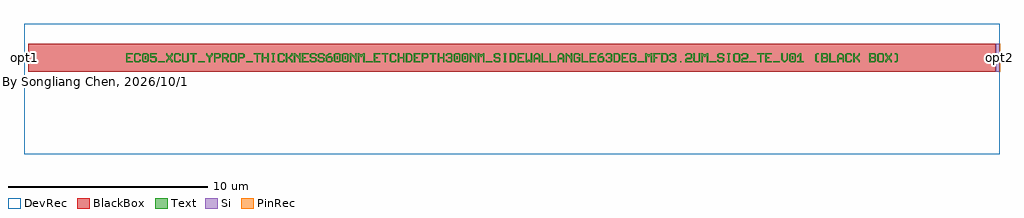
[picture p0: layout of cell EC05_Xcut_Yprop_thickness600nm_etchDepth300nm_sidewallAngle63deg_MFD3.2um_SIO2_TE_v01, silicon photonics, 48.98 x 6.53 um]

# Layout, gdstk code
import gdstk
lib = gdstk.Library(unit=1e-6, precision=1e-10)
def R(c, l, rs):  # rectangles x0, y0, x1, y1
    for r in rs: c.add(gdstk.rectangle(r[:2], r[2:], *l))
def A(c, l, x, y, w, h, nx, ny, dx, dy):  # array of equal rectangles
    R(c, l, [(x+i*dx, y+j*dy, x+i*dx+w, y+j*dy+h) for i in range(nx) for j in range(ny)])
def P(c, l, *ps):  # polygons
    for p in ps: c.add(gdstk.Polygon(p, *l))
Si = (1, 0)
PinRec = (1, 10)
Text = (10, 0)
DevRec = (68, 0)
BlackBox = (998, 0)

text = lib.new_cell('TEXT')
A(text, Text, 6.015, 0, 0.334, 0.067, 3, 1, 6.015, 0)
R(text, Text, [(1.604,0,1.938,0.067), (3.609,0,3.943,0.067), (25.664,0,25.998,0.067), (27.803,0,27.869,0.067), (29.273,0,29.607,0.067), (31.278,0,31.612,0.067), (32.481,0,32.815,0.067), (0.936,0.167,1.002,0.3), (10.56,0.167,10.626,0.3), (10.961,0.167,11.027,0.3), (16.575,0.167,16.641,0.3), (16.976,0.167,17.042,0.3), (33.417,0.167,33.483,0.3)])
P(text, Text, [(19.248,0),(19.248,0.467),(19.482,0.467),(19.548,0.401),(19.315,0.401),(19.315,0.067),(19.448,0.067),(19.515,0.134),(19.515,0.334),(19.448,0.401),(19.548,0.401),(19.582,0.367),(19.582,0.1),(19.482,0)],
  [(19.649,0),(19.649,0.467),(19.983,0.467),(19.983,0.401),(19.716,0.401),(19.716,0.267),(19.849,0.267),(19.849,0.2),(19.716,0.2),(19.716,0.067),(19.983,0.067),(19.983,0)],
  [(20.05,0),(20.05,0.467),(20.117,0.467),(20.117,0.1),(20.15,0.1),(20.217,0.167),(20.284,0.1),(20.317,0.1),(20.317,0.467),(20.384,0.467),(20.384,0),(20.284,0),(20.217,0.067),(20.15,0)],
  [(20.451,0),(20.451,0.367),(20.551,0.467),(20.685,0.467),(20.751,0.401),(20.585,0.401),(20.518,0.334),(20.518,0.234),(20.718,0.234),(20.718,0.334),(20.651,0.401),(20.751,0.401),(20.785,0.367),(20.785,0),(20.718,0),(20.718,0.167),(20.518,0.167),(20.518,0)],
  [(20.852,0),(20.852,0.467),(20.919,0.467),(20.919,0.067),(21.186,0.067),(21.186,0)],
  [(21.253,0),(21.253,0.467),(21.32,0.467),(21.32,0.067),(21.587,0.067),(21.587,0)],
  [(21.654,0),(21.654,0.367),(21.754,0.467),(21.888,0.467),(21.954,0.401),(21.788,0.401),(21.721,0.334),(21.721,0.234),(21.921,0.234),(21.921,0.334),(21.854,0.401),(21.954,0.401),(21.988,0.367),(21.988,0),(21.921,0),(21.921,0.167),(21.721,0.167),(21.721,0)],
  [(22.055,0),(22.055,0.467),(22.122,0.467),(22.289,0.3),(22.322,0.3),(22.322,0.467),(22.389,0.467),(22.389,0),(22.322,0),(22.322,0.167),(22.155,0.334),(22.122,0.334),(22.122,0)],
  [(22.523,0),(22.456,0.067),(22.456,0.401),(22.523,0.467),(22.723,0.467),(22.79,0.401),(22.79,0.334),(22.723,0.334),(22.723,0.367),(22.69,0.401),(22.556,0.401),(22.523,0.367),(22.523,0.1),(22.556,0.067),(22.69,0.067),(22.723,0.1),(22.723,0.2),(22.623,0.2),(22.623,0.267),(22.79,0.267),(22.79,0.067),(22.723,0)],
  [(22.857,0),(22.857,0.467),(22.924,0.467),(22.924,0.067),(23.191,0.067),(23.191,0)],
  [(23.258,0),(23.258,0.467),(23.592,0.467),(23.592,0.401),(23.325,0.401),(23.325,0.267),(23.458,0.267),(23.458,0.2),(23.325,0.2),(23.325,0.067),(23.592,0.067),(23.592,0)],
  [(23.726,0),(23.659,0.067),(23.659,0.334),(23.793,0.467),(23.926,0.467),(23.926,0.401),(23.826,0.401),(23.759,0.334),(23.759,0.3),(23.926,0.3),(23.993,0.234),(23.759,0.234),(23.726,0.2),(23.726,0.1),(23.759,0.067),(23.893,0.067),(23.926,0.1),(23.926,0.2),(23.893,0.234),(23.993,0.234),(23.993,0.067),(23.926,0)],
  [(24.127,0),(24.06,0.067),(24.06,0.134),(24.127,0.134),(24.127,0.1),(24.16,0.067),(24.294,0.067),(24.327,0.1),(24.327,0.167),(24.294,0.2),(24.194,0.2),(24.194,0.267),(24.294,0.267),(24.327,0.3),(24.327,0.367),(24.294,0.401),(24.16,0.401),(24.127,0.367),(24.127,0.334),(24.06,0.334),(24.06,0.401),(24.127,0.467),(24.327,0.467),(24.394,0.401),(24.394,0.267),(24.36,0.234),(24.394,0.2),(24.394,0.067),(24.327,0)],
  [(24.461,0),(24.461,0.467),(24.695,0.467),(24.761,0.401),(24.528,0.401),(24.528,0.067),(24.661,0.067),(24.728,0.134),(24.728,0.334),(24.661,0.401),(24.761,0.401),(24.795,0.367),(24.795,0.1),(24.695,0)],
  [(24.862,0),(24.862,0.467),(25.196,0.467),(25.196,0.401),(24.929,0.401),(24.929,0.267),(25.062,0.267),(25.062,0.2),(24.929,0.2),(24.929,0.067),(25.196,0.067),(25.196,0)],
  [(25.33,0),(25.263,0.067),(25.263,0.401),(25.33,0.467),(25.53,0.467),(25.597,0.401),(25.597,0.334),(25.53,0.334),(25.53,0.367),(25.497,0.401),(25.363,0.401),(25.33,0.367),(25.33,0.1),(25.363,0.067),(25.497,0.067),(25.53,0.1),(25.53,0.2),(25.43,0.2),(25.43,0.267),(25.597,0.267),(25.597,0.067),(25.53,0)],
  [(26.065,0),(26.065,0.467),(26.132,0.467),(26.199,0.401),(26.265,0.401),(26.332,0.467),(26.399,0.467),(26.399,0),(26.332,0),(26.332,0.334),(26.299,0.334),(26.232,0.267),(26.165,0.334),(26.132,0.334),(26.132,0)],
  [(26.466,0),(26.466,0.467),(26.8,0.467),(26.8,0.401),(26.533,0.401),(26.533,0.267),(26.666,0.267),(26.666,0.2),(26.533,0.2),(26.533,0)],
  [(26.867,0),(26.867,0.467),(27.101,0.467),(27.167,0.401),(26.934,0.401),(26.934,0.067),(27.067,0.067),(27.134,0.134),(27.134,0.334),(27.067,0.401),(27.167,0.401),(27.201,0.367),(27.201,0.1),(27.101,0)],
  [(27.335,0),(27.268,0.067),(27.268,0.134),(27.335,0.134),(27.335,0.1),(27.368,0.067),(27.502,0.067),(27.535,0.1),(27.535,0.167),(27.502,0.2),(27.402,0.2),(27.402,0.267),(27.502,0.267),(27.535,0.3),(27.535,0.367),(27.502,0.401),(27.368,0.401),(27.335,0.367),(27.335,0.334),(27.268,0.334),(27.268,0.401),(27.335,0.467),(27.535,0.467),(27.602,0.401),(27.602,0.267),(27.568,0.234),(27.602,0.2),(27.602,0.067),(27.535,0)],
  [(28.07,0),(28.07,0.167),(28.137,0.234),(28.304,0.234),(28.337,0.267),(28.337,0.367),(28.304,0.401),(28.17,0.401),(28.137,0.367),(28.137,0.334),(28.07,0.334),(28.07,0.401),(28.137,0.467),(28.337,0.467),(28.404,0.401),(28.404,0.234),(28.337,0.167),(28.17,0.167),(28.137,0.134),(28.137,0.067),(28.404,0.067),(28.404,0)],
  [(28.538,0),(28.471,0.067),(28.471,0.467),(28.538,0.467),(28.538,0.1),(28.571,0.067),(28.705,0.067),(28.738,0.1),(28.738,0.467),(28.805,0.467),(28.805,0.067),(28.738,0)],
  [(28.872,0),(28.872,0.467),(28.939,0.467),(29.006,0.401),(29.072,0.401),(29.139,0.467),(29.206,0.467),(29.206,0),(29.139,0),(29.139,0.334),(29.106,0.334),(29.039,0.267),(28.972,0.334),(28.939,0.334),(28.939,0)],
  [(29.741,0),(29.674,0.067),(29.674,0.134),(29.741,0.134),(29.741,0.1),(29.774,0.067),(29.908,0.067),(29.941,0.1),(29.941,0.167),(29.908,0.2),(29.741,0.2),(29.674,0.267),(29.674,0.401),(29.741,0.467),(29.941,0.467),(30.008,0.401),(30.008,0.334),(29.941,0.334),(29.941,0.367),(29.908,0.401),(29.774,0.401),(29.741,0.367),(29.741,0.3),(29.774,0.267),(29.941,0.267),(30.008,0.2),(30.008,0.067),(29.941,0)],
  [(30.175,0),(30.175,0.067),(30.209,0.067),(30.209,0.401),(30.175,0.401),(30.175,0.467),(30.309,0.467),(30.309,0.401),(30.275,0.401),(30.275,0.067),(30.309,0.067),(30.309,0)],
  [(30.543,0),(30.476,0.067),(30.476,0.401),(30.543,0.467),(30.743,0.467),(30.81,0.401),(30.81,0.234),(30.743,0.234),(30.743,0.367),(30.71,0.401),(30.576,0.401),(30.543,0.367),(30.543,0.1),(30.576,0.067),(30.71,0.067),(30.743,0.1),(30.743,0.234),(30.81,0.234),(30.81,0.067),(30.743,0)],
  [(30.877,0),(30.877,0.167),(30.944,0.234),(31.111,0.234),(31.144,0.267),(31.144,0.367),(31.111,0.401),(30.977,0.401),(30.944,0.367),(30.944,0.334),(30.877,0.334),(30.877,0.401),(30.944,0.467),(31.144,0.467),(31.211,0.401),(31.211,0.234),(31.144,0.167),(30.977,0.167),(30.944,0.134),(30.944,0.067),(31.211,0.067),(31.211,0)],
  [(31.813,0),(31.813,0.401),(31.679,0.401),(31.679,0.467),(32.013,0.467),(32.013,0.401),(31.879,0.401),(31.879,0)],
  [(32.08,0),(32.08,0.467),(32.414,0.467),(32.414,0.401),(32.147,0.401),(32.147,0.267),(32.28,0.267),(32.28,0.2),(32.147,0.2),(32.147,0.067),(32.414,0.067),(32.414,0)],
  [(33.016,0),(32.882,0.134),(32.882,0.467),(32.949,0.467),(32.949,0.167),(33.049,0.067),(33.149,0.167),(33.149,0.467),(33.216,0.467),(33.216,0.134),(33.082,0)],
  [(33.35,0),(33.283,0.067),(33.283,0.401),(33.35,0.467),(33.55,0.467),(33.617,0.401),(33.383,0.401),(33.35,0.367),(33.35,0.1),(33.383,0.067),(33.517,0.067),(33.55,0.1),(33.55,0.367),(33.517,0.401),(33.617,0.401),(33.617,0.067),(33.55,0)],
  [(33.684,0),(33.684,0.067),(33.818,0.067),(33.818,0.334),(33.784,0.334),(33.717,0.267),(33.684,0.267),(33.684,0.334),(33.818,0.467),(33.884,0.467),(33.884,0.067),(34.018,0.067),(34.018,0)],
  [(34.653,0),(34.586,0.067),(34.586,0.401),(34.653,0.467),(34.753,0.467),(34.753,0.401),(34.686,0.401),(34.653,0.367),(34.653,0.1),(34.686,0.067),(34.753,0.067),(34.753,0)],
  [(34.887,0),(34.887,0.467),(35.154,0.467),(35.221,0.401),(34.954,0.401),(34.954,0.267),(35.121,0.267),(35.154,0.3),(35.154,0.367),(35.121,0.401),(35.221,0.401),(35.221,0.267),(35.187,0.234),(35.221,0.2),(34.954,0.2),(34.954,0.067),(35.121,0.067),(35.154,0.1),(35.154,0.167),(35.121,0.2),(35.221,0.2),(35.221,0.067),(35.154,0)],
  [(35.288,0),(35.288,0.467),(35.355,0.467),(35.355,0.067),(35.622,0.067),(35.622,0)],
  [(35.689,0),(35.689,0.367),(35.789,0.467),(35.923,0.467),(35.989,0.401),(35.823,0.401),(35.756,0.334),(35.756,0.234),(35.956,0.234),(35.956,0.334),(35.889,0.401),(35.989,0.401),(36.023,0.367),(36.023,0),(35.956,0),(35.956,0.167),(35.756,0.167),(35.756,0)],
  [(36.157,0),(36.09,0.067),(36.09,0.401),(36.157,0.467),(36.357,0.467),(36.424,0.401),(36.424,0.334),(36.357,0.334),(36.357,0.367),(36.324,0.401),(36.19,0.401),(36.157,0.367),(36.157,0.1),(36.19,0.067),(36.324,0.067),(36.357,0.1),(36.357,0.134),(36.424,0.134),(36.424,0.067),(36.357,0)],
  [(36.491,0),(36.491,0.467),(36.558,0.467),(36.558,0.267),(36.625,0.267),(36.758,0.401),(36.758,0.467),(36.825,0.467),(36.825,0.367),(36.691,0.234),(36.825,0.1),(36.825,0),(36.758,0),(36.758,0.067),(36.625,0.2),(36.558,0.2),(36.558,0)],
  [(37.293,0),(37.293,0.467),(37.56,0.467),(37.627,0.401),(37.36,0.401),(37.36,0.267),(37.527,0.267),(37.56,0.3),(37.56,0.367),(37.527,0.401),(37.627,0.401),(37.627,0.267),(37.593,0.234),(37.627,0.2),(37.36,0.2),(37.36,0.067),(37.527,0.067),(37.56,0.1),(37.56,0.167),(37.527,0.2),(37.627,0.2),(37.627,0.067),(37.56,0)],
  [(37.761,0),(37.694,0.067),(37.694,0.401),(37.761,0.467),(37.961,0.467),(38.028,0.401),(38.028,0.234),(37.961,0.234),(37.961,0.367),(37.928,0.401),(37.794,0.401),(37.761,0.367),(37.761,0.1),(37.794,0.067),(37.928,0.067),(37.961,0.1),(37.961,0.234),(38.028,0.234),(38.028,0.067),(37.961,0)],
  [(38.095,0),(38.095,0.1),(38.195,0.2),(38.195,0.267),(38.095,0.367),(38.095,0.467),(38.162,0.467),(38.162,0.401),(38.262,0.3),(38.362,0.401),(38.362,0.467),(38.429,0.467),(38.429,0.367),(38.329,0.267),(38.329,0.2),(38.429,0.1),(38.429,0),(38.362,0),(38.362,0.067),(38.262,0.167),(38.162,0.067),(38.162,0)],
  [(38.563,0),(38.563,0.067),(38.63,0.067),(38.663,0.1),(38.663,0.367),(38.63,0.401),(38.563,0.401),(38.563,0.467),(38.663,0.467),(38.73,0.401),(38.73,0.067),(38.663,0)],
  [(17.243,0),(17.243,0.467),(17.31,0.467),(17.477,0.3),(17.51,0.3),(17.51,0.467),(17.577,0.467),(17.577,0),(17.51,0),(17.51,0.167),(17.343,0.334),(17.31,0.334),(17.31,0)],
  [(17.644,0),(17.644,0.467),(17.711,0.467),(17.778,0.401),(17.844,0.401),(17.911,0.467),(17.978,0.467),(17.978,0),(17.911,0),(17.911,0.334),(17.878,0.334),(17.811,0.267),(17.744,0.334),(17.711,0.334),(17.711,0)],
  [(18.513,0),(18.446,0.067),(18.446,0.134),(18.513,0.134),(18.513,0.1),(18.546,0.067),(18.68,0.067),(18.713,0.1),(18.713,0.167),(18.68,0.2),(18.513,0.2),(18.446,0.267),(18.446,0.401),(18.513,0.467),(18.713,0.467),(18.78,0.401),(18.78,0.334),(18.713,0.334),(18.713,0.367),(18.68,0.401),(18.546,0.401),(18.513,0.367),(18.513,0.3),(18.546,0.267),(18.713,0.267),(18.78,0.2),(18.78,0.067),(18.713,0)],
  [(18.947,0),(18.947,0.067),(18.981,0.067),(18.981,0.401),(18.947,0.401),(18.947,0.467),(19.081,0.467),(19.081,0.401),(19.047,0.401),(19.047,0.067),(19.081,0.067),(19.081,0)],
  [(0,0),(0,0.467),(0.334,0.467),(0.334,0.401),(0.067,0.401),(0.067,0.267),(0.2,0.267),(0.2,0.2),(0.067,0.2),(0.067,0.067),(0.334,0.067),(0.334,0)],
  [(0.468,0),(0.401,0.067),(0.401,0.401),(0.468,0.467),(0.668,0.467),(0.735,0.401),(0.735,0.334),(0.668,0.334),(0.668,0.367),(0.635,0.401),(0.501,0.401),(0.468,0.367),(0.468,0.1),(0.501,0.067),(0.635,0.067),(0.668,0.1),(0.668,0.134),(0.735,0.134),(0.735,0.067),(0.668,0)],
  [(0.869,0),(0.802,0.067),(0.802,0.401),(0.869,0.467),(1.069,0.467),(1.136,0.401),(0.902,0.401),(0.869,0.367),(0.869,0.1),(0.902,0.067),(1.036,0.067),(1.069,0.1),(1.069,0.367),(1.036,0.401),(1.136,0.401),(1.136,0.067),(1.069,0)],
  [(1.27,0),(1.203,0.067),(1.203,0.134),(1.27,0.134),(1.27,0.1),(1.303,0.067),(1.437,0.067),(1.47,0.1),(1.47,0.2),(1.437,0.234),(1.203,0.234),(1.203,0.467),(1.537,0.467),(1.537,0.401),(1.27,0.401),(1.27,0.3),(1.47,0.3),(1.537,0.234),(1.537,0.067),(1.47,0)],
  [(2.005,0),(2.005,0.1),(2.105,0.2),(2.105,0.267),(2.005,0.367),(2.005,0.467),(2.072,0.467),(2.072,0.401),(2.172,0.3),(2.272,0.401),(2.272,0.467),(2.339,0.467),(2.339,0.367),(2.239,0.267),(2.239,0.2),(2.339,0.1),(2.339,0),(2.272,0),(2.272,0.067),(2.172,0.167),(2.072,0.067),(2.072,0)],
  [(2.473,0),(2.406,0.067),(2.406,0.401),(2.473,0.467),(2.673,0.467),(2.74,0.401),(2.74,0.334),(2.673,0.334),(2.673,0.367),(2.64,0.401),(2.506,0.401),(2.473,0.367),(2.473,0.1),(2.506,0.067),(2.64,0.067),(2.673,0.1),(2.673,0.134),(2.74,0.134),(2.74,0.067),(2.673,0)],
  [(2.874,0),(2.807,0.067),(2.807,0.467),(2.874,0.467),(2.874,0.1),(2.907,0.067),(3.041,0.067),(3.074,0.1),(3.074,0.467),(3.141,0.467),(3.141,0.067),(3.074,0)],
  [(3.342,0),(3.342,0.401),(3.208,0.401),(3.208,0.467),(3.542,0.467),(3.542,0.401),(3.408,0.401),(3.408,0)],
  [(4.144,0),(4.144,0.234),(4.01,0.367),(4.01,0.467),(4.077,0.467),(4.077,0.401),(4.177,0.3),(4.277,0.401),(4.277,0.467),(4.344,0.467),(4.344,0.367),(4.21,0.234),(4.21,0)],
  [(4.411,0),(4.411,0.467),(4.678,0.467),(4.745,0.401),(4.745,0.267),(4.678,0.2),(4.478,0.2),(4.478,0.267),(4.645,0.267),(4.678,0.3),(4.678,0.367),(4.645,0.401),(4.478,0.401),(4.478,0)],
  [(4.812,0),(4.812,0.467),(5.079,0.467),(5.146,0.401),(4.879,0.401),(4.879,0.267),(5.046,0.267),(5.079,0.3),(5.079,0.367),(5.046,0.401),(5.146,0.401),(5.146,0.267),(5.079,0.2),(5.079,0.167),(5.146,0.1),(5.146,0),(5.079,0),(5.079,0.067),(4.946,0.2),(4.879,0.2),(4.879,0)],
  [(5.28,0),(5.213,0.067),(5.213,0.401),(5.28,0.467),(5.48,0.467),(5.547,0.401),(5.547,0.234),(5.48,0.234),(5.48,0.367),(5.447,0.401),(5.313,0.401),(5.28,0.367),(5.28,0.1),(5.313,0.067),(5.447,0.067),(5.48,0.1),(5.48,0.234),(5.547,0.234),(5.547,0.067),(5.48,0)],
  [(5.614,0),(5.614,0.467),(5.881,0.467),(5.948,0.401),(5.948,0.267),(5.881,0.2),(5.681,0.2),(5.681,0.267),(5.848,0.267),(5.881,0.3),(5.881,0.367),(5.848,0.401),(5.681,0.401),(5.681,0)],
  [(6.55,0),(6.55,0.401),(6.416,0.401),(6.416,0.467),(6.75,0.467),(6.75,0.401),(6.616,0.401),(6.616,0)],
  [(6.817,0),(6.817,0.467),(6.884,0.467),(6.884,0.267),(7.084,0.267),(7.084,0.467),(7.151,0.467),(7.151,0),(7.084,0),(7.084,0.2),(6.884,0.2),(6.884,0)],
  [(7.318,0),(7.318,0.067),(7.352,0.067),(7.352,0.401),(7.318,0.401),(7.318,0.467),(7.452,0.467),(7.452,0.401),(7.418,0.401),(7.418,0.067),(7.452,0.067),(7.452,0)],
  [(7.686,0),(7.619,0.067),(7.619,0.401),(7.686,0.467),(7.886,0.467),(7.953,0.401),(7.953,0.334),(7.886,0.334),(7.886,0.367),(7.853,0.401),(7.719,0.401),(7.686,0.367),(7.686,0.1),(7.719,0.067),(7.853,0.067),(7.886,0.1),(7.886,0.134),(7.953,0.134),(7.953,0.067),(7.886,0)],
  [(8.02,0),(8.02,0.467),(8.087,0.467),(8.087,0.267),(8.154,0.267),(8.287,0.401),(8.287,0.467),(8.354,0.467),(8.354,0.367),(8.22,0.234),(8.354,0.1),(8.354,0),(8.287,0),(8.287,0.067),(8.154,0.2),(8.087,0.2),(8.087,0)],
  [(8.421,0),(8.421,0.467),(8.488,0.467),(8.655,0.3),(8.688,0.3),(8.688,0.467),(8.755,0.467),(8.755,0),(8.688,0),(8.688,0.167),(8.521,0.334),(8.488,0.334),(8.488,0)],
  [(8.822,0),(8.822,0.467),(9.156,0.467),(9.156,0.401),(8.889,0.401),(8.889,0.267),(9.022,0.267),(9.022,0.2),(8.889,0.2),(8.889,0.067),(9.156,0.067),(9.156,0)],
  [(9.29,0),(9.223,0.067),(9.223,0.134),(9.29,0.134),(9.29,0.1),(9.323,0.067),(9.457,0.067),(9.49,0.1),(9.49,0.167),(9.457,0.2),(9.29,0.2),(9.223,0.267),(9.223,0.401),(9.29,0.467),(9.49,0.467),(9.557,0.401),(9.557,0.334),(9.49,0.334),(9.49,0.367),(9.457,0.401),(9.323,0.401),(9.29,0.367),(9.29,0.3),(9.323,0.267),(9.49,0.267),(9.557,0.2),(9.557,0.067),(9.49,0)],
  [(9.691,0),(9.624,0.067),(9.624,0.134),(9.691,0.134),(9.691,0.1),(9.724,0.067),(9.858,0.067),(9.891,0.1),(9.891,0.167),(9.858,0.2),(9.691,0.2),(9.624,0.267),(9.624,0.401),(9.691,0.467),(9.891,0.467),(9.958,0.401),(9.958,0.334),(9.891,0.334),(9.891,0.367),(9.858,0.401),(9.724,0.401),(9.691,0.367),(9.691,0.3),(9.724,0.267),(9.891,0.267),(9.958,0.2),(9.958,0.067),(9.891,0)],
  [(10.092,0),(10.025,0.067),(10.025,0.334),(10.159,0.467),(10.292,0.467),(10.292,0.401),(10.192,0.401),(10.125,0.334),(10.125,0.3),(10.292,0.3),(10.359,0.234),(10.125,0.234),(10.092,0.2),(10.092,0.1),(10.125,0.067),(10.259,0.067),(10.292,0.1),(10.292,0.2),(10.259,0.234),(10.359,0.234),(10.359,0.067),(10.292,0)],
  [(10.493,0),(10.426,0.067),(10.426,0.401),(10.493,0.467),(10.693,0.467),(10.76,0.401),(10.526,0.401),(10.493,0.367),(10.493,0.1),(10.526,0.067),(10.66,0.067),(10.693,0.1),(10.693,0.367),(10.66,0.401),(10.76,0.401),(10.76,0.067),(10.693,0)],
  [(10.894,0),(10.827,0.067),(10.827,0.401),(10.894,0.467),(11.094,0.467),(11.161,0.401),(10.927,0.401),(10.894,0.367),(10.894,0.1),(10.927,0.067),(11.061,0.067),(11.094,0.1),(11.094,0.367),(11.061,0.401),(11.161,0.401),(11.161,0.067),(11.094,0)],
  [(11.228,0),(11.228,0.467),(11.295,0.467),(11.462,0.3),(11.495,0.3),(11.495,0.467),(11.562,0.467),(11.562,0),(11.495,0),(11.495,0.167),(11.328,0.334),(11.295,0.334),(11.295,0)],
  [(11.629,0),(11.629,0.467),(11.696,0.467),(11.763,0.401),(11.829,0.401),(11.896,0.467),(11.963,0.467),(11.963,0),(11.896,0),(11.896,0.334),(11.863,0.334),(11.796,0.267),(11.729,0.334),(11.696,0.334),(11.696,0)],
  [(12.431,0),(12.431,0.467),(12.765,0.467),(12.765,0.401),(12.498,0.401),(12.498,0.267),(12.631,0.267),(12.631,0.2),(12.498,0.2),(12.498,0.067),(12.765,0.067),(12.765,0)],
  [(12.966,0),(12.966,0.401),(12.832,0.401),(12.832,0.467),(13.166,0.467),(13.166,0.401),(13.032,0.401),(13.032,0)],
  [(13.3,0),(13.233,0.067),(13.233,0.401),(13.3,0.467),(13.5,0.467),(13.567,0.401),(13.567,0.334),(13.5,0.334),(13.5,0.367),(13.467,0.401),(13.333,0.401),(13.3,0.367),(13.3,0.1),(13.333,0.067),(13.467,0.067),(13.5,0.1),(13.5,0.134),(13.567,0.134),(13.567,0.067),(13.5,0)],
  [(13.634,0),(13.634,0.467),(13.701,0.467),(13.701,0.267),(13.901,0.267),(13.901,0.467),(13.968,0.467),(13.968,0),(13.901,0),(13.901,0.2),(13.701,0.2),(13.701,0)],
  [(14.035,0),(14.035,0.467),(14.269,0.467),(14.335,0.401),(14.102,0.401),(14.102,0.067),(14.235,0.067),(14.302,0.134),(14.302,0.334),(14.235,0.401),(14.335,0.401),(14.369,0.367),(14.369,0.1),(14.269,0)],
  [(14.436,0),(14.436,0.467),(14.77,0.467),(14.77,0.401),(14.503,0.401),(14.503,0.267),(14.636,0.267),(14.636,0.2),(14.503,0.2),(14.503,0.067),(14.77,0.067),(14.77,0)],
  [(14.837,0),(14.837,0.467),(15.104,0.467),(15.171,0.401),(15.171,0.267),(15.104,0.2),(14.904,0.2),(14.904,0.267),(15.071,0.267),(15.104,0.3),(15.104,0.367),(15.071,0.401),(14.904,0.401),(14.904,0)],
  [(15.372,0),(15.372,0.401),(15.238,0.401),(15.238,0.467),(15.572,0.467),(15.572,0.401),(15.438,0.401),(15.438,0)],
  [(15.639,0),(15.639,0.467),(15.706,0.467),(15.706,0.267),(15.906,0.267),(15.906,0.467),(15.973,0.467),(15.973,0),(15.906,0),(15.906,0.2),(15.706,0.2),(15.706,0)],
  [(16.107,0),(16.04,0.067),(16.04,0.134),(16.107,0.134),(16.107,0.1),(16.14,0.067),(16.274,0.067),(16.307,0.1),(16.307,0.167),(16.274,0.2),(16.174,0.2),(16.174,0.267),(16.274,0.267),(16.307,0.3),(16.307,0.367),(16.274,0.401),(16.14,0.401),(16.107,0.367),(16.107,0.334),(16.04,0.334),(16.04,0.401),(16.107,0.467),(16.307,0.467),(16.374,0.401),(16.374,0.267),(16.34,0.234),(16.374,0.2),(16.374,0.067),(16.307,0)],
  [(16.508,0),(16.441,0.067),(16.441,0.401),(16.508,0.467),(16.708,0.467),(16.775,0.401),(16.541,0.401),(16.508,0.367),(16.508,0.1),(16.541,0.067),(16.675,0.067),(16.708,0.1),(16.708,0.367),(16.675,0.401),(16.775,0.401),(16.775,0.067),(16.708,0)],
  [(16.909,0),(16.842,0.067),(16.842,0.401),(16.909,0.467),(17.109,0.467),(17.176,0.401),(16.942,0.401),(16.909,0.367),(16.909,0.1),(16.942,0.067),(17.076,0.067),(17.109,0.1),(17.109,0.367),(17.076,0.401),(17.176,0.401),(17.176,0.067),(17.109,0)])

ec05_xcut_yprop_thicknes = lib.new_cell('EC05_Xcut_Yprop_thickness600nm_etchDepth300nm_sidewallAngle63deg_MFD3.2um_SIO2_TE_v01')
R(ec05_xcut_yprop_thicknes, Si, [(24.2823,-0.7,24.4823,0.7), (-24.4824,-0.0984,-24.2824,0.0984)])
R(ec05_xcut_yprop_thicknes, DevRec, [(-24.4824,-4.8338,24.4823,1.7)])
R(ec05_xcut_yprop_thicknes, BlackBox, [(-24.2824,-0.7,24.2823,0.7)])
ec05_xcut_yprop_thicknes.add(gdstk.FlexPath([(-24.4724,0),(-24.4924,0)], 0.1968, ends="flush", simple_path=True, layer=1, datatype=10))  # PinRec
ec05_xcut_yprop_thicknes.add(gdstk.FlexPath([(24.4723,0),(24.4923,0)], 1.4, ends="flush", simple_path=True, layer=1, datatype=10))  # PinRec
ec05_xcut_yprop_thicknes.add(gdstk.Reference(text, (-19.3651,-0.2335)))
ec05_xcut_yprop_thicknes.add(gdstk.Label('opt1', (-24.4824,0), layer=1, texttype=10))
ec05_xcut_yprop_thicknes.add(gdstk.Label('opt2', (24.4823,0), layer=1, texttype=10))
ec05_xcut_yprop_thicknes.add(gdstk.Label('By Songliang Chen, 2026/10/13', (-23.9824,-1.2), layer=10, texttype=0))

lib.write_gds('EC05_Xcut_Yprop_thickness600nm_etchDepth300nm_sidewallAngle63deg_MFD3.2um_SIO2_TE_v01.gds')
